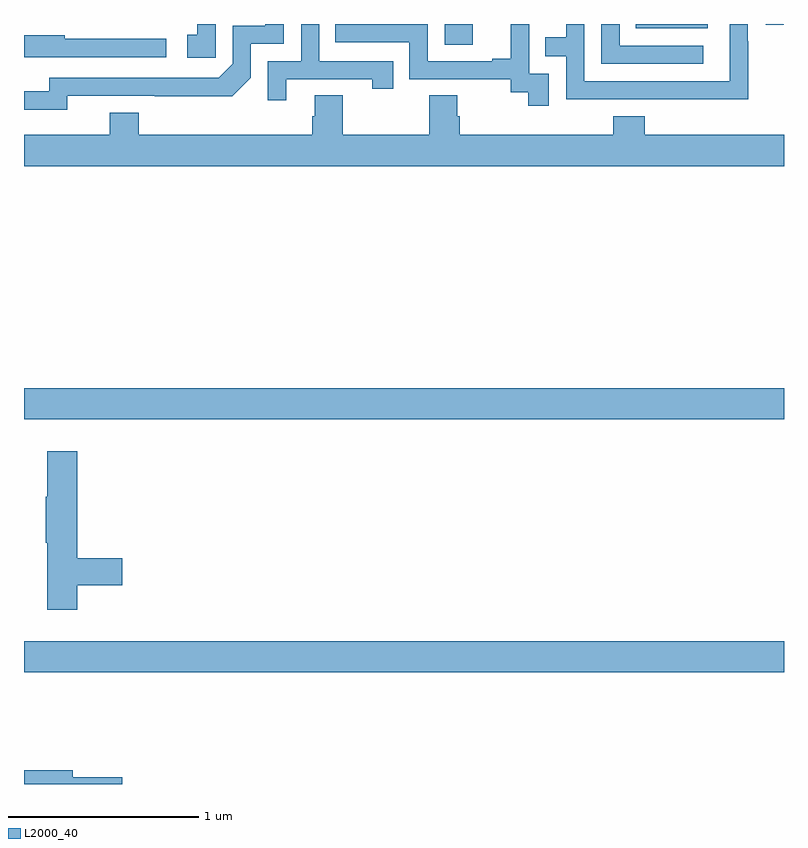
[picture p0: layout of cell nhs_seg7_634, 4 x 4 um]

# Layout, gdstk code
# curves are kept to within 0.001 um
import gdstk
lib = gdstk.Library(unit=1e-6, precision=1e-09)
def R(c, l, rs):  # rectangles x0, y0, x1, y1
    for r in rs: c.add(gdstk.rectangle(r[:2], r[2:], *l))
def P(c, l, *ps):  # polygons
    for p in ps: c.add(gdstk.Polygon(p, *l))
L2000_40 = (2000, 40)

nhs_seg7_634 = lib.new_cell('nhs_seg7_634')
R(nhs_seg7_634, L2000_40, [(159,1028.588,163,1028.752), (159,1029.92,163,1030.084), (161.214,1031.892,161.362,1032), (162.22,1031.978,162.598,1032), (162.903,1031.997,162.999,1032)])
P(nhs_seg7_634, L2000_40, [(160.008,1032),(159.911,1032),(159.911,1031.943),(159.858,1031.943),(159.858,1031.823),(160.008,1031.823)],
  [(162.574,1031.886),(162.135,1031.886),(162.135,1032),(162.039,1032),(162.039,1031.79),(162.574,1031.79)],
  [(160.381,1031.709),(160.832,1031.709),(160.832,1031.658),(160.943,1031.658),(160.943,1031.805),(160.554,1031.805),(160.554,1032),(160.458,1032),(160.458,1031.805),(160.284,1031.805),(160.284,1031.598),(160.381,1031.598)],
  [(162.813,1031.909),(162.81,1031.909),(162.81,1032),(162.714,1032),(162.714,1031.7),(161.949,1031.7),(161.949,1032),(161.853,1032),(161.853,1031.93),(161.743,1031.93),(161.743,1031.829),(161.853,1031.829),(161.853,1031.604),(162.349,1031.604),(162.349,1031.603),(162.813,1031.603)],
  [(159.228,1031.622),(160.096,1031.621),(160.194,1031.718),(160.194,1031.895),(160.368,1031.895),(160.368,1032),(160.271,1032),(160.271,1031.991),(160.098,1031.991),(160.098,1031.79),(160.026,1031.718),(159.132,1031.718),(159.132,1031.646),(159,1031.646),(159,1031.549),(159.228,1031.549)],
  [(161.763,1031.739),(161.658,1031.739),(161.658,1031.969),(161.66,1031.969),(161.66,1032),(161.561,1032),(161.561,1031.818),(161.465,1031.818),(161.465,1031.805),(161.124,1031.805),(161.124,1032),(160.639,1032),(160.639,1031.904),(161.028,1031.904),(161.028,1031.709),(161.562,1031.709),(161.562,1031.641),(161.655,1031.641),(161.655,1031.571),(161.763,1031.571)],
  [(159.748,1031.922),(159.215,1031.922),(159.215,1031.942),(159,1031.942),(159,1031.826),(159.748,1031.826)],
  [(163,1031.416),(162.266,1031.416),(162.266,1031.515),(162.101,1031.515),(162.101,1031.416),(161.294,1031.416),(161.294,1031.514),(161.281,1031.514),(161.281,1031.624),(161.134,1031.624),(161.134,1031.416),(160.677,1031.416),(160.677,1031.624),(160.529,1031.624),(160.529,1031.514),(160.517,1031.514),(160.517,1031.416),(159.605,1031.416),(159.605,1031.533),(159.452,1031.533),(159.452,1031.416),(159,1031.416),(159,1031.252),(163,1031.252)],
  [(159.281,1029.046),(159.517,1029.046),(159.517,1029.188),(159.281,1029.188),(159.281,1029.751),(159.122,1029.751),(159.122,1029.512),(159.115,1029.512),(159.115,1029.271),(159.122,1029.271),(159.122,1028.916),(159.281,1028.916)],
  [(159.517,1028.036),(159.256,1028.036),(159.256,1028.072),(159,1028.072),(159,1028),(159.517,1028)])

lib.write_gds('nhs_seg7_634.gds')
